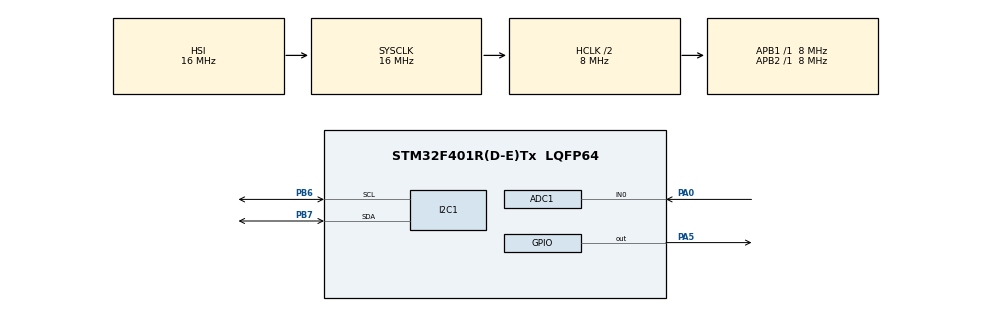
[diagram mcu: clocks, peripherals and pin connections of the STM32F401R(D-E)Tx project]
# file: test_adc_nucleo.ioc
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ADC1.Channel-0\#ChannelRegularConversion=ADC_CHANNEL_0
ADC1.ClockPrescaler=ADC_CLOCK_SYNC_PCLK_DIV8
ADC1.ContinuousConvMode=ENABLE
ADC1.InjNumberOfConversion=0
ADC1.NbrOfConversion=1
ADC1.NbrOfConversionFlag=1
ADC1.Rank-0\#ChannelRegularConversion=1
ADC1.SamplingTime-0\#ChannelRegularConversion=ADC_SAMPLETIME_3CYCLES
ADC1.master=1
Dma.ADC1.0.Direction=DMA_PERIPH_TO_MEMORY
Dma.ADC1.0.FIFOMode=DMA_FIFOMODE_DISABLE
Dma.ADC1.0.Instance=DMA2_Stream0
Dma.ADC1.0.MemDataAlignment=DMA_MDATAALIGN_HALFWORD
Dma.ADC1.0.MemInc=DMA_MINC_ENABLE
Dma.ADC1.0.Mode=DMA_CIRCULAR
Dma.ADC1.0.PeriphDataAlignment=DMA_PDATAALIGN_HALFWORD
Dma.ADC1.0.PeriphInc=DMA_PINC_DISABLE
Dma.ADC1.0.Priority=DMA_PRIORITY_HIGH
Dma.Request0=ADC1
FREERTOS.Tasks01=defaultTask,0,128,StartDefaultTask,Default,NULL,Dynamic,NULL,NULL
FREERTOS.configUSE_NEWLIB_REENTRANT=1
I2C1.I2C_Mode=I2C_Fast
Mcu.Family=STM32F4
Mcu.Name=STM32F401R(D-E)Tx
Mcu.Package=LQFP64
NVIC.ADC_IRQn=true\:5\:0\:false\:false\:true\:true\:true\:true\:true
NVIC.DMA2_Stream0_IRQn=true\:5\:0\:false\:false\:true\:true\:false\:true\:true
NVIC.PriorityGroup=NVIC_PRIORITYGROUP_4
NVIC.TIM1_UP_TIM10_IRQn=true\:0\:0\:false\:false\:true\:false\:false\:true\:true
NVIC.TimeBase=TIM1_UP_TIM10_IRQn
NVIC.TimeBaseIP=TIM1
PA0-WKUP.Signal=ADCx_IN0
PA13.Mode=Serial_Wire
PA13.Signal=SYS_JTMS-SWDIO
PA14.Mode=Serial_Wire
PA14.Signal=SYS_JTCK-SWCLK
PA5.Signal=GPIO_Output
PB6.Mode=I2C
PB6.Signal=I2C1_SCL
PB7.Mode=I2C
PB7.Signal=I2C1_SDA
ProjectManager.HeapSize=0x200
ProjectManager.StackSize=0x400
ProjectManager.TargetToolchain=STM32CubeIDE
RCC.AHBCLKDivider=RCC_SYSCLK_DIV2
RCC.AHBFreq_Value=8000000
RCC.APB1Freq_Value=8000000
RCC.APB1TimFreq_Value=8000000
RCC.APB2Freq_Value=8000000
RCC.APB2TimFreq_Value=8000000
RCC.CortexFreq_Value=8000000
RCC.HCLKFreq_Value=8000000
RCC.HSE_VALUE=25000000
RCC.HSI_VALUE=16000000
RCC.LSE_VALUE=32768
RCC.PLLP=RCC_PLLP_DIV8
RCC.SYSCLKFreq_VALUE=16000000
RCC.VCOOutputFreq_Value=192000000
SH.ADCx_IN0.0=ADC1_IN0,IN0
VP_FREERTOS_VS_CMSIS_V1.Mode=CMSIS_V1
VP_SYS_VS_tim1.Mode=TIM1
board=custom

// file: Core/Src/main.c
/* USER CODE BEGIN Header */
/**
  ******************************************************************************
  * @file           : main.c
  * @brief          : Main program body
  ******************************************************************************
  * @attention
  *
  * <h2><center>&copy; Copyright (c) 2024 STMicroelectronics.
  * All rights reserved.</center></h2>
  *
  * This software component is licensed by ST under BSD 3-Clause license,
  * the "License"; You may not use this file except in compliance with the
  * License. You may obtain a copy of the License at:
  *                        opensource.org/licenses/BSD-3-Clause
  *
  ******************************************************************************
  */
/* USER CODE END Header */
#include "main.h"
#include "cmsis_os.h"

/* USER CODE BEGIN Includes */
#include "ssd1306.h"
#include "fonts.h"
#include "arm_math.h"
#include "queue.h"
#include "task.h"
/* USER CODE END Includes */

/* USER CODE BEGIN PD */
#define FFT_SIZE 4096  // Tamaño de la FFT (debe ser una potencia de 2)
/* USER CODE END PD */

ADC_HandleTypeDef hadc1;
DMA_HandleTypeDef hdma_adc1;

I2C_HandleTypeDef hi2c1;

osThreadId defaultTaskHandle;
/* USER CODE BEGIN PV */

//volatile uint8_t convCompleted = 0;

float32_t input_signal[FFT_SIZE];  // Buffer para almacenar las muestras ADC
float32_t fft_output[FFT_SIZE];  // Buffer para almacenar los resultados de la FFT

QueueHandle_t cola;

uint16_t buffer[FFT_SIZE] = {2, 2, 2, 2, 2, 2, 2, 2, 2, 0, 0, 0, 0, 0, 0, 0, 0, 2, 2, 2, 2, 2, 2, 2, 2, 0, 0, 0, 0, 0, 0, 0};
uint16_t rawValues[FFT_SIZE];

uint32_t i = 0;
uint32_t sampleRate;

/* USER CODE END PV */

void SystemClock_Config(void);
static void MX_GPIO_Init(void);
static void MX_DMA_Init(void);
static void MX_ADC1_Init(void);
static void MX_I2C1_Init(void);
void StartDefaultTask(void const * argument);

int main(void)
{

  /* MCU Configuration--------------------------------------------------------*/

  /* Reset of all peripherals, Initializes the Flash interface and the Systick. */
  HAL_Init();

  /* Configure the system clock */
  SystemClock_Config();

  /* Initialize all configured peripherals */
  MX_GPIO_Init();
  MX_DMA_Init();
  MX_ADC1_Init();
  MX_I2C1_Init();
  /* USER CODE BEGIN 2 */
  // Obtener el valor del prescaler del ADC
  uint32_t adc_prescaler = ((ADC->CCR & ADC_CCR_ADCPRE) >> ADC_CCR_ADCPRE_Pos);

  // Convertir el prescaler a su valor divisor
  uint32_t adc_div;
  switch (adc_prescaler) {
	  case 0: adc_div = 2; break;
	  case 1: adc_div = 4; break;
	  case 2: adc_div = 6; break;
	  case 3: adc_div = 8; break;
	  default: adc_div = 2; // Valor por defecto en caso de error
  }

  sampleRate = HAL_RCC_GetHCLKFreq() / adc_div;
  /* USER CODE END 2 */

  /* USER CODE BEGIN RTOS_QUEUES */
  /* add queues, ... */
  cola=xQueueCreate(1, sizeof(uint32_t));
  /* USER CODE END RTOS_QUEUES */

  /* Create the thread(s) */
  /* definition and creation of defaultTask */
  osThreadDef(defaultTask, StartDefaultTask, osPriorityNormal, 0, 128);
  defaultTaskHandle = osThreadCreate(osThread(defaultTask), NULL);

  /* Start scheduler */
  osKernelStart();

  /* We should never get here as control is now taken by the scheduler */
  /* Infinite loop */
  while (1)
  {

  }
}

void SystemClock_Config(void)
{
  RCC_OscInitTypeDef RCC_OscInitStruct = {0};
  RCC_ClkInitTypeDef RCC_ClkInitStruct = {0};

  /** Configure the main internal regulator output voltage
  */
  __HAL_RCC_PWR_CLK_ENABLE();
  __HAL_PWR_VOLTAGESCALING_CONFIG(PWR_REGULATOR_VOLTAGE_SCALE2);
  /** Initializes the RCC Oscillators according to the specified parameters
  * in the RCC_OscInitTypeDef structure.
  */
  RCC_OscInitStruct.OscillatorType = RCC_OSCILLATORTYPE_HSI;
  RCC_OscInitStruct.HSIState = RCC_HSI_ON;
  RCC_OscInitStruct.HSICalibrationValue = RCC_HSICALIBRATION_DEFAULT;
  RCC_OscInitStruct.PLL.PLLState = RCC_PLL_NONE;
  if (HAL_RCC_OscConfig(&RCC_OscInitStruct) != HAL_OK)
  {
    Error_Handler();
  }
  /** Initializes the CPU, AHB and APB buses clocks
  */
  RCC_ClkInitStruct.ClockType = RCC_CLOCKTYPE_HCLK|RCC_CLOCKTYPE_SYSCLK
                              |RCC_CLOCKTYPE_PCLK1|RCC_CLOCKTYPE_PCLK2;
  RCC_ClkInitStruct.SYSCLKSource = RCC_SYSCLKSOURCE_HSI;
  RCC_ClkInitStruct.AHBCLKDivider = RCC_SYSCLK_DIV2;
  RCC_ClkInitStruct.APB1CLKDivider = RCC_HCLK_DIV1;
  RCC_ClkInitStruct.APB2CLKDivider = RCC_HCLK_DIV1;

  if (HAL_RCC_ClockConfig(&RCC_ClkInitStruct, FLASH_LATENCY_0) != HAL_OK)
  {
    Error_Handler();
  }
}

static void MX_ADC1_Init(void)
{

  ADC_ChannelConfTypeDef sConfig = {0};

  /** Configure the global features of the ADC (Clock, Resolution, Data Alignment and number of conversion)
  */
  hadc1.Instance = ADC1;
  hadc1.Init.ClockPrescaler = ADC_CLOCK_SYNC_PCLK_DIV8;
  hadc1.Init.Resolution = ADC_RESOLUTION_12B;
  hadc1.Init.ScanConvMode = DISABLE;
  hadc1.Init.ContinuousConvMode = ENABLE;
  hadc1.Init.DiscontinuousConvMode = DISABLE;
  hadc1.Init.ExternalTrigConvEdge = ADC_EXTERNALTRIGCONVEDGE_NONE;
  hadc1.Init.ExternalTrigConv = ADC_SOFTWARE_START;
  hadc1.Init.DataAlign = ADC_DATAALIGN_RIGHT;
  hadc1.Init.NbrOfConversion = 1;
  hadc1.Init.DMAContinuousRequests = DISABLE;
  hadc1.Init.EOCSelection = ADC_EOC_SINGLE_CONV;
  if (HAL_ADC_Init(&hadc1) != HAL_OK)
  {
    Error_Handler();
  }
  /** Configure for the selected ADC regular channel its corresponding rank in the sequencer and its sample time.
  */
  sConfig.Channel = ADC_CHANNEL_0;
  sConfig.Rank = 1;
  sConfig.SamplingTime = ADC_SAMPLETIME_3CYCLES;
  if (HAL_ADC_ConfigChannel(&hadc1, &sConfig) != HAL_OK)
  {
    Error_Handler();
  }

}

static void MX_I2C1_Init(void)
{

  hi2c1.Instance = I2C1;
  hi2c1.Init.ClockSpeed = 400000;
  hi2c1.Init.DutyCycle = I2C_DUTYCYCLE_2;
  hi2c1.Init.OwnAddress1 = 0;
  hi2c1.Init.AddressingMode = I2C_ADDRESSINGMODE_7BIT;
  hi2c1.Init.DualAddressMode = I2C_DUALADDRESS_DISABLE;
  hi2c1.Init.OwnAddress2 = 0;
  hi2c1.Init.GeneralCallMode = I2C_GENERALCALL_DISABLE;
  hi2c1.Init.NoStretchMode = I2C_NOSTRETCH_DISABLE;
  if (HAL_I2C_Init(&hi2c1) != HAL_OK)
  {
    Error_Handler();
  }

}

static void MX_DMA_Init(void)
{

  /* DMA controller clock enable */
  __HAL_RCC_DMA2_CLK_ENABLE();

  /* DMA interrupt init */
  /* DMA2_Stream0_IRQn interrupt configuration */
  HAL_NVIC_SetPriority(DMA2_Stream0_IRQn, 5, 0);
  HAL_NVIC_EnableIRQ(DMA2_Stream0_IRQn);

}

static void MX_GPIO_Init(void)
{
  GPIO_InitTypeDef GPIO_InitStruct = {0};

  /* GPIO Ports Clock Enable */
  __HAL_RCC_GPIOA_CLK_ENABLE();
  __HAL_RCC_GPIOB_CLK_ENABLE();

  /*Configure GPIO pin Output Level */
  HAL_GPIO_WritePin(GPIOA, GPIO_PIN_5, GPIO_PIN_RESET);

  /*Configure GPIO pin : PA5 */
  GPIO_InitStruct.Pin = GPIO_PIN_5;
  GPIO_InitStruct.Mode = GPIO_MODE_OUTPUT_PP;
  GPIO_InitStruct.Pull = GPIO_NOPULL;
  GPIO_InitStruct.Speed = GPIO_SPEED_FREQ_LOW;
  HAL_GPIO_Init(GPIOA, &GPIO_InitStruct);

}

/* USER CODE BEGIN 4 */

  //char snum[5];
  char get_note_from_frequency(uint32_t frequency) {
      if (frequency >= 261 && frequency <= 277) return 'C';

      if (frequency >= 294 && frequency <= 311) return 'D';

      if (frequency >= 330 && frequency <= 349) return 'E';

      if (frequency >= 350 && frequency <= 369) return 'F';

      if (frequency >= 390 && frequency <= 415) return 'G';

      if (frequency >= 441 && frequency <= 466) return 'A';

      if (frequency >= 494 && frequency <= 523) return 'B';

      return '-';
  }

uint32_t calculate_fft_and_find_frequency(uint16_t *buffer, uint32_t buffer_size) {
	arm_rfft_fast_instance_f32 S;
	float32_t maxValue, mean;
	uint32_t maxIndex;

	// Inicialización de la FFT
	arm_rfft_fast_init_f32(&S, buffer_size);

	// Copiar las muestras del ADC (convertirlas de enteros a flotantes)
	for (uint32_t i = 0; i < buffer_size; i++) {
	  input_signal[i] = (float32_t)buffer[i];
	}

	arm_mean_f32(input_signal, buffer_size, &mean);

	for (uint32_t i = 0; i < buffer_size; i++) {
	  input_signal[i] = input_signal[i] - mean;
	}

	// Realizar la FFT
	arm_rfft_fast_f32(&S, input_signal, fft_output, 0);

	// Calcular la magnitud (sólo necesitamos la parte real)
	arm_cmplx_mag_f32(fft_output, fft_output, buffer_size / 2);

	// Encontrar el índice con el valor más alto en el espectro de la FFT
	arm_max_f32(fft_output, buffer_size / 2, &maxValue, &maxIndex);

	// Calcular la frecuencia dominante
	return (maxIndex * sampleRate) / buffer_size / 15;
}

void HAL_ADC_ConvCpltCallback(ADC_HandleTypeDef* hadc) {
	uint32_t dato = calculate_fft_and_find_frequency(rawValues, FFT_SIZE);

	BaseType_t xHigherPriorityTaskWoken;
	xQueueSendFromISR(cola, &dato, &xHigherPriorityTaskWoken);
//    vTaskNotifyGiveFromISR(defaultTaskHandle, &xHigherPriorityTaskWoken);

	// Realiza un cambio de contexto si se desbloqueó una tarea de mayor prioridad
	portEND_SWITCHING_ISR(xHigherPriorityTaskWoken);
}
/* USER CODE END 4 */

void StartDefaultTask(void const * argument)
{
  /* USER CODE BEGIN 5 */
	uint32_t dato;
	SSD1306_Init();

  /* Infinite loop */
	HAL_ADC_Start_DMA(&hadc1, (uint32_t*)rawValues, FFT_SIZE);

	for(;;)
	{
//		ulTaskNotifyTake(pdTRUE, portMAX_DELAY);
		xQueueReceive(cola, &dato, portMAX_DELAY);

		SSD1306_GotoXY (0,30);
		SSD1306_PutIntU(0, 0, i++, &Font_11x18);
		SSD1306_GotoXY (0,0);
		SSD1306_Puts("Freq: ", &Font_11x18, SSD1306_COLOR_WHITE);
		SSD1306_GotoXY (60,0);
		SSD1306_Putc(get_note_from_frequency(dato), &Font_11x18, SSD1306_COLOR_WHITE);
		SSD1306_UpdateScreen();

		HAL_ADC_Start_DMA(&hadc1, (uint32_t*)rawValues, FFT_SIZE);
	}
  /* USER CODE END 5 */
}

 /**
  * @brief  Period elapsed callback in non blocking mode
  * @note   This function is called  when TIM1 interrupt took place, inside
  * HAL_TIM_IRQHandler(). It makes a direct call to HAL_IncTick() to increment
  * a global variable "uwTick" used as application time base.
  * @param  htim : TIM handle
  * @retval None
  */
void HAL_TIM_PeriodElapsedCallback(TIM_HandleTypeDef *htim)
{
  if (htim->Instance == TIM1) {
    HAL_IncTick();
  }
}

void Error_Handler(void)
{
  __disable_irq();
  while (1)
  {
  }
}

/************************ (C) COPYRIGHT STMicroelectronics *****END OF FILE****/

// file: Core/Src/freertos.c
/* USER CODE BEGIN Header */
/**
  ******************************************************************************
  * File Name          : freertos.c
  * Description        : Code for freertos applications
  ******************************************************************************
  * @attention
  *
  * <h2><center>&copy; Copyright (c) 2024 STMicroelectronics.
  * All rights reserved.</center></h2>
  *
  * This software component is licensed by ST under Ultimate Liberty license
  * SLA0044, the "License"; You may not use this file except in compliance with
  * the License. You may obtain a copy of the License at:
  *                             www.st.com/SLA0044
  *
  ******************************************************************************
  */
/* USER CODE END Header */

#include "FreeRTOS.h"
#include "task.h"
#include "main.h"

/* GetIdleTaskMemory prototype (linked to static allocation support) */
void vApplicationGetIdleTaskMemory( StaticTask_t **ppxIdleTaskTCBBuffer, StackType_t **ppxIdleTaskStackBuffer, uint32_t *pulIdleTaskStackSize );

/* USER CODE BEGIN GET_IDLE_TASK_MEMORY */
static StaticTask_t xIdleTaskTCBBuffer;
static StackType_t xIdleStack[configMINIMAL_STACK_SIZE];

void vApplicationGetIdleTaskMemory( StaticTask_t **ppxIdleTaskTCBBuffer, StackType_t **ppxIdleTaskStackBuffer, uint32_t *pulIdleTaskStackSize )
{
  *ppxIdleTaskTCBBuffer = &xIdleTaskTCBBuffer;
  *ppxIdleTaskStackBuffer = &xIdleStack[0];
  *pulIdleTaskStackSize = configMINIMAL_STACK_SIZE;
  /* place for user code */
}
/* USER CODE END GET_IDLE_TASK_MEMORY */

/************************ (C) COPYRIGHT STMicroelectronics *****END OF FILE****/
